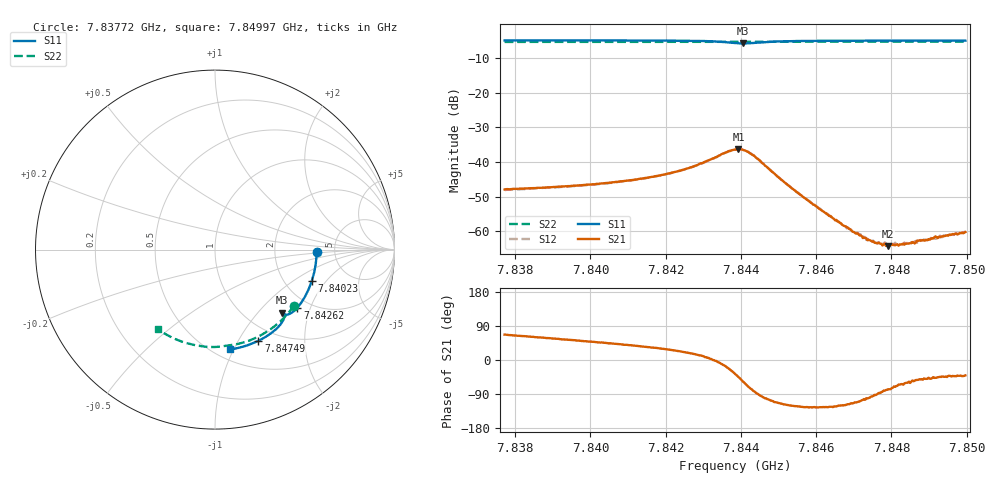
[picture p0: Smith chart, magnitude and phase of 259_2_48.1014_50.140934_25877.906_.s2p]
#  HZ  S  RI  R  50.00
! Rohde & Schwarz Vector Network Analyzer
! Rohde-Schwarz,ZNB20-2Port,1311601062101988,3.16
! Created: UTC 12/23/2023, 4:00:34 AM
! freq[Hz]  re:S11  im:S11  re:S21  im:S21  re:S12  im:S12  re:S22  im:S22
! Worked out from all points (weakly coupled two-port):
!   401 points, 7.83772 GHz to 7.84997 GHz, reference 50 ohm
!   highest |S21| = -36.25 dB at 7.84393 GHz (marker M1); lowest = -64.2 dB at 7.84791 GHz (marker M2)
!   lowest |S11| = -5.8 dB at 7.84406 GHz (marker M3), VSWR 3.11, Z = 71.6 - j68.3 ohm
!   |S11| at or under -10 dB: nowhere
!   |S22| runs from -5.4 to -5.3 dB; largest |S21 - S12| = 0.00024
!   S11 on the Smith chart (normalised r, x): 7.83772 GHz: 3.61, -0.13; 7.84023 GHz: 2.78, -1.45; 7.84262 GHz: 1.72, -1.63; 7.84749 GHz: 0.82, -1.22; 7.84997 GHz: 0.60, -0.97
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7.83772e9  0.5664 -0.0119  0.00158 0.00371  0.00162 0.00364  0.4403 -0.3125
7.839771e9  0.5476 -0.1472  0.00299 0.00357  0.0029 0.00355  0.3431 -0.4179
7.840231e9  0.5386 -0.177  0.00336 0.00352  0.00331 0.0035  0.3175 -0.4377
7.841088e9  0.5169 -0.2313  0.00427 0.00345  0.00424 0.00341  0.2671 -0.4706
7.841823e9  0.493 -0.2765  0.0055 0.00327  0.00545 0.00325  0.2214 -0.494
7.842619e9  0.4588 -0.3237  0.00778 0.00261  0.00775 0.00265  0.1691 -0.5143
7.843384e9  0.4103 -0.3603  0.012 -0.00105  0.0121 -0.00102  0.1168 -0.5277
7.843843e9  0.3777 -0.3583  0.0122 -0.00894  0.0122 -0.00894  0.0862 -0.5321
7.843935e9  0.3751 -0.3551  0.0109 -0.0108  0.0109 -0.0108  0.0805 -0.5329
7.844057e9  0.3752 -0.3511  0.00814 -0.0126  0.00827 -0.0125  0.0728 -0.5341
7.844364e9  0.3846 -0.3559  0.00137 -0.0121  0.00141 -0.0121  0.0531 -0.5375
7.845282e9  0.3653 -0.4167  -0.00225 -0.00394  -0.00223 -0.00393  -0.0111 -0.5428
7.845894e9  0.3343 -0.4486  -0.00146 -0.00205  -0.00147 -0.00207  -0.0544 -0.5407
7.846874e9  0.2787 -0.4882  -0.000495 -0.000979  -0.000478 -0.000978  -0.1225 -0.5303
7.847303e9  0.2533 -0.5025  -0.000207 -0.000774  -0.0002 -0.000806  -0.1518 -0.5231
7.847486e9  0.242 -0.508  -7.56e-05 -0.000711  -8.55e-05 -0.000729  -0.164 -0.5194
7.847639e9  0.2328 -0.5125  1.17e-05 -0.000674  -7.36e-06 -0.000696  -0.1742 -0.5161
7.847915e9  0.2157 -0.52  0.000137 -0.000602  0.000128 -0.000638  -0.1925 -0.5097
7.847945e9  0.2139 -0.5206  0.000138 -0.000605  0.000145 -0.000596  -0.1945 -0.509
7.848527e9  0.1772 -0.5343  0.000364 -0.000569  0.000362 -0.000601  -0.2321 -0.4934
7.849139e9  0.1381 -0.5456  0.000561 -0.000608  0.000517 -0.00061  -0.2704 -0.474
7.849966e9  0.084 -0.5563  0.000742 -0.000639  0.000756 -0.000648  -0.3195 -0.4429
